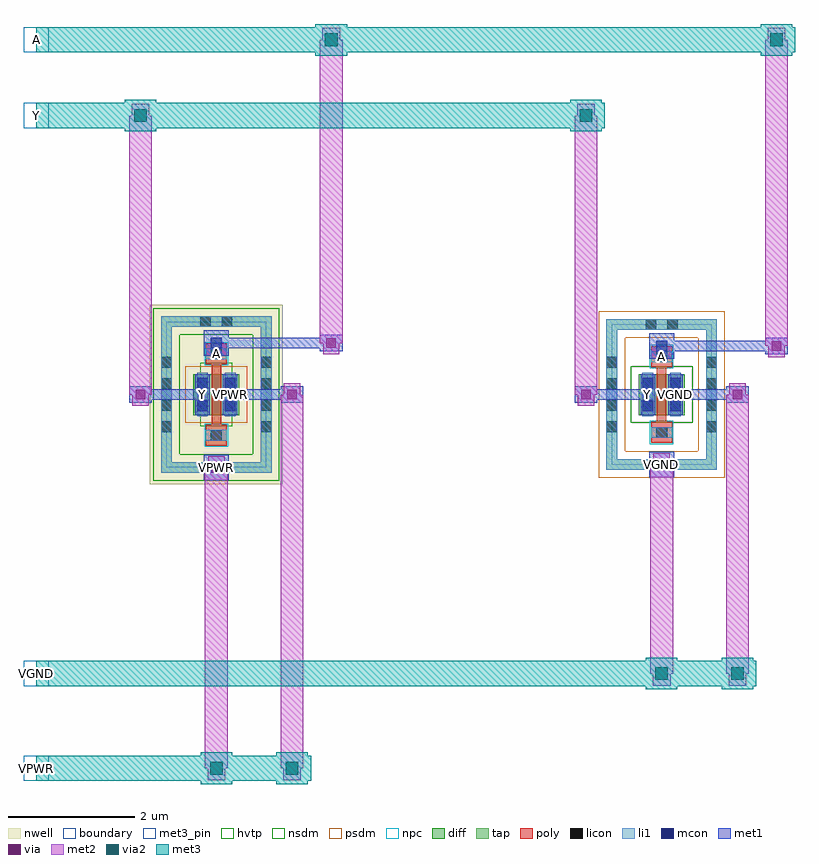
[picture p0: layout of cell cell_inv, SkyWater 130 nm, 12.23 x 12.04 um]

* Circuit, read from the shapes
.subckt cell_inv A VGND VPWR Y
XM1 VGND A Y VGND sky130_fd_pr__nfet_01v8 w=0.65 l=0.15
XM2 VPWR A Y VPWR sky130_fd_pr__pfet_01v8_hvt w=0.65 l=0.15
.ends

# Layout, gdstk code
import gdstk
lib = gdstk.Library(unit=1e-6, precision=1e-09)
def R(c, l, rs):  # rectangles x0, y0, x1, y1
    for r in rs: c.add(gdstk.rectangle(r[:2], r[2:], *l))
def A(c, l, x, y, w, h, nx, ny, dx, dy):  # array of equal rectangles
    R(c, l, [(x+i*dx, y+j*dy, x+i*dx+w, y+j*dy+h) for i in range(nx) for j in range(ny)])
nwell = (64, 20)
diff = (65, 20)
tap = (65, 44)
poly = (66, 20)
licon = (66, 44)
li1 = (67, 20)
mcon = (67, 44)
met1 = (68, 20)
via = (68, 44)
met2 = (69, 20)
via2 = (69, 44)
met3_pin = (70, 16)
met3 = (70, 20)
hvtp = (78, 44)
nsdm = (93, 44)
psdm = (94, 20)
npc = (95, 20)
boundary = (235, 4)

cell_inv = lib.new_cell('cell_inv')
R(cell_inv, nwell, [(0,-1.42,2.11,1.42)])
R(cell_inv, diff, [(0.69,-0.325,1.42,0.325), (7.745,-0.325,8.475,0.325)])
R(cell_inv, tap, [(0.18,-1.24,1.93,-1.07), (7.235,-1.195,8.985,-1.025), (0.18,-1.07,0.35,1.07), (1.76,-1.07,1.93,1.07), (7.235,-1.025,7.405,1.025), (8.815,-1.025,8.985,1.025), (7.235,1.025,8.985,1.195), (0.18,1.07,1.93,1.24)])
R(cell_inv, poly, [(0.89,-0.81,1.22,-0.48), (7.945,-0.765,8.275,-0.435), (0.98,-0.48,1.13,0.48), (8.035,-0.435,8.185,0.435), (7.945,0.435,8.275,0.765), (0.89,0.48,1.22,0.81)])
A(cell_inv, licon, 0.18, -0.595, 0.17, 0.17, 1, 4, 0, 0.34)
A(cell_inv, licon, 1.76, -0.595, 0.17, 0.17, 1, 4, 0, 0.34)
A(cell_inv, licon, 7.235, -0.595, 0.17, 0.17, 1, 4, 0, 0.34)
A(cell_inv, licon, 8.815, -0.595, 0.17, 0.17, 1, 4, 0, 0.34)
R(cell_inv, licon, [(0.8,-1.24,0.97,-1.07), (1.14,-1.24,1.31,-1.07), (7.855,-1.195,8.025,-1.025), (8.195,-1.195,8.365,-1.025), (0.97,-0.73,1.14,-0.56), (8.025,-0.685,8.195,-0.515), (0.75,-0.255,0.92,-0.085), (1.19,-0.255,1.36,-0.085), (7.805,-0.255,7.975,-0.085), (8.245,-0.255,8.415,-0.085), (0.75,0.085,0.92,0.255), (1.19,0.085,1.36,0.255), (7.805,0.085,7.975,0.255), (8.245,0.085,8.415,0.255), (8.025,0.515,8.195,0.685), (0.97,0.56,1.14,0.73), (7.855,1.025,8.025,1.195), (8.195,1.025,8.365,1.195), (0.8,1.07,0.97,1.24), (1.14,1.07,1.31,1.24)])
R(cell_inv, li1, [(0.18,-1.24,1.93,-1.07), (7.235,-1.195,8.985,-1.025), (0.18,-1.07,0.35,1.07), (1.76,-1.07,1.93,1.07), (7.235,-1.025,7.405,1.025), (8.815,-1.025,8.985,1.025), (0.89,-0.73,1.22,-0.56), (7.945,-0.685,8.275,-0.515), (0.75,-0.345,0.92,0.345), (1.19,-0.345,1.36,0.345), (7.805,-0.345,7.975,0.345), (8.245,-0.345,8.415,0.345), (7.945,0.515,8.275,0.685), (8.025,0.515,8.195,0.855), (0.89,0.56,1.22,0.73), (0.97,0.56,1.14,0.9), (7.235,1.025,8.985,1.195), (0.18,1.07,1.93,1.24)])
R(cell_inv, mcon, [(0.97,-1.24,1.14,-1.07), (8.025,-1.195,8.195,-1.025), (0.75,-0.265,0.92,-0.095), (1.19,-0.265,1.36,-0.095), (7.805,-0.265,7.975,-0.095), (8.245,-0.265,8.415,-0.095), (0.75,0.095,0.92,0.265), (1.19,0.095,1.36,0.265), (7.805,0.095,7.975,0.265), (8.245,0.095,8.415,0.265), (8.025,0.685,8.195,0.855), (0.97,0.73,1.14,0.9)])
R(cell_inv, met1, [(0.855,-1.355,1.255,-0.955), (7.91,-1.31,8.31,-0.91), (0.875,-1.285,1.235,-1.025), (7.93,-1.24,8.29,-0.98), (0.72,-0.325,0.95,0.325), (1.16,-0.325,1.39,0.325), (7.775,-0.325,8.005,0.325), (8.215,-0.325,8.445,0.325), (-0.325,-0.13,0.035,0.13), (2.075,-0.13,2.435,0.13), (6.73,-0.13,7.09,0.13), (9.13,-0.13,9.49,0.13), (7.91,0.57,8.31,0.97), (0.855,0.615,1.255,1.015), (9.75,0.64,10.11,0.9), (2.695,0.685,3.055,0.945)])
R(cell_inv, via, [(0.98,-1.23,1.13,-1.08), (8.035,-1.185,8.185,-1.035), (-0.22,-0.075,-0.07,0.075), (2.18,-0.075,2.33,0.075), (6.835,-0.075,6.985,0.075), (9.235,-0.075,9.385,0.075), (9.855,0.695,10.005,0.845), (2.8,0.74,2.95,0.89)])
R(cell_inv, met2, [(0.915,-6.11,1.195,-5.73), (2.115,-6.11,2.395,-5.73), (7.97,-4.61,8.25,-4.23), (9.17,-4.61,9.45,-4.23), (0.925,-1.335,1.185,-0.975), (7.98,-1.29,8.24,-0.93), (-0.275,-0.18,-0.015,0.18), (2.125,-0.18,2.385,0.18), (6.78,-0.18,7.04,0.18), (9.18,-0.18,9.44,0.18), (9.8,0.59,10.06,0.95), (2.745,0.635,3.005,0.995), (-0.285,4.23,-0.005,4.61), (6.77,4.23,7.05,4.61), (2.735,5.43,3.015,5.81), (9.79,5.43,10.07,5.81)])
R(cell_inv, via2, [(0.955,-6.02,1.155,-5.82), (2.155,-6.02,2.355,-5.82), (8.01,-4.52,8.21,-4.32), (9.21,-4.52,9.41,-4.32), (-0.245,4.32,-0.045,4.52), (6.81,4.32,7.01,4.52), (2.775,5.52,2.975,5.72), (9.83,5.52,10.03,5.72)])
R(cell_inv, met3_pin, [(-2,-6.12,-1.6,-5.72), (-2,-4.62,-1.6,-4.22), (-2,4.22,-1.6,4.62), (-2,5.42,-1.6,5.82)])
R(cell_inv, met3, [(0.805,-6.17,1.305,-5.67), (2.005,-6.17,2.505,-5.67), (7.86,-4.67,8.36,-4.17), (9.06,-4.67,9.56,-4.17), (-0.395,4.17,0.105,4.67), (6.66,4.17,7.16,4.67), (2.625,5.37,3.125,5.87), (9.68,5.37,10.18,5.87)])
R(cell_inv, hvtp, [(0.8,-0.505,1.31,0.505)])
R(cell_inv, nsdm, [(0.055,-1.365,2.055,-0.945), (0.055,-0.945,0.475,0.945), (1.635,-0.945,2.055,0.945), (7.62,-0.45,8.6,0.45), (0.055,0.945,2.055,1.365)])
R(cell_inv, psdm, [(7.11,-1.32,9.11,-0.9), (7.11,-0.9,7.53,0.9), (8.69,-0.9,9.11,0.9), (0.565,-0.45,1.545,0.45), (7.11,0.9,9.11,1.32)])
R(cell_inv, npc, [(0.87,-0.83,1.24,-0.46), (7.925,-0.785,8.295,-0.415), (7.925,0.415,8.295,0.785), (0.87,0.46,1.24,0.83)])
R(cell_inv, boundary, [(0.265,-1.155,1.845,1.155), (7.32,-1.11,8.9,1.11)])
cell_inv.add(gdstk.FlexPath([(0.835,0),(-0.145,0)], 0.17, ends="flush", simple_path=True, layer=68, datatype=20))  # met1
cell_inv.add(gdstk.FlexPath([(7.89,0),(6.91,0)], 0.17, ends="flush", simple_path=True, layer=68, datatype=20))  # met1
cell_inv.add(gdstk.FlexPath([(1.055,0.815),(2.875,0.815)], 0.17, ends="flush", simple_path=True, layer=68, datatype=20))  # met1
cell_inv.add(gdstk.FlexPath([(1.275,0),(2.255,0)], 0.17, ends="flush", simple_path=True, layer=68, datatype=20))  # met1
cell_inv.add(gdstk.FlexPath([(8.33,0),(9.31,0)], 0.17, ends="flush", simple_path=True, layer=68, datatype=20))  # met1
cell_inv.add(gdstk.FlexPath([(1.055,-1.155),(1.055,-1.155)], 0.17, ends="flush", simple_path=True, layer=68, datatype=20))  # met1
cell_inv.add(gdstk.FlexPath([(8.11,0.77),(9.93,0.77)], 0.17, ends="flush", simple_path=True, layer=68, datatype=20))  # met1
cell_inv.add(gdstk.FlexPath([(8.11,-1.11),(8.11,-1.11)], 0.17, ends="flush", simple_path=True, layer=68, datatype=20))  # met1
cell_inv.add(gdstk.FlexPath([(-0.145,0),(-0.145,4.42)], 0.36, ends="flush", simple_path=True, layer=69, datatype=20))  # met2
cell_inv.add(gdstk.FlexPath([(2.875,0.815),(2.875,5.62)], 0.36, ends="flush", simple_path=True, layer=69, datatype=20))  # met2
cell_inv.add(gdstk.FlexPath([(2.255,0),(2.255,-5.92)], 0.36, ends="flush", simple_path=True, layer=69, datatype=20))  # met2
cell_inv.add(gdstk.FlexPath([(1.055,-1.155),(1.055,-5.92)], 0.36, ends="flush", simple_path=True, layer=69, datatype=20))  # met2
cell_inv.add(gdstk.FlexPath([(9.93,0.77),(9.93,5.62)], 0.36, ends="flush", simple_path=True, layer=69, datatype=20))  # met2
cell_inv.add(gdstk.FlexPath([(8.11,-1.11),(8.11,-4.42)], 0.36, ends="flush", simple_path=True, layer=69, datatype=20))  # met2
cell_inv.add(gdstk.FlexPath([(6.91,0),(6.91,4.42)], 0.36, ends="flush", simple_path=True, layer=69, datatype=20))  # met2
cell_inv.add(gdstk.FlexPath([(9.31,0),(9.31,-4.42)], 0.36, ends="flush", simple_path=True, layer=69, datatype=20))  # met2
cell_inv.add(gdstk.FlexPath([(-1.8,4.42),(7.21,4.42)], 0.4, ends="flush", simple_path=True, layer=70, datatype=20))  # met3
cell_inv.add(gdstk.FlexPath([(-1.8,5.62),(10.23,5.62)], 0.4, ends="flush", simple_path=True, layer=70, datatype=20))  # met3
cell_inv.add(gdstk.FlexPath([(-1.8,-4.42),(9.61,-4.42)], 0.4, ends="flush", simple_path=True, layer=70, datatype=20))  # met3
cell_inv.add(gdstk.FlexPath([(-1.8,-5.92),(2.555,-5.92)], 0.4, ends="flush", simple_path=True, layer=70, datatype=20))  # met3
cell_inv.add(gdstk.Label('VPWR', (1.055,-1.155), layer=67, texttype=5))
cell_inv.add(gdstk.Label('Y', (0.835,0), layer=67, texttype=5))
cell_inv.add(gdstk.Label('VPWR', (1.275,0), layer=67, texttype=5))
cell_inv.add(gdstk.Label('A', (1.055,0.645), layer=67, texttype=5))
cell_inv.add(gdstk.Label('VGND', (8.11,-1.11), layer=67, texttype=5))
cell_inv.add(gdstk.Label('Y', (7.89,0), layer=67, texttype=5))
cell_inv.add(gdstk.Label('VGND', (8.33,0), layer=67, texttype=5))
cell_inv.add(gdstk.Label('A', (8.11,0.6), layer=67, texttype=5))
cell_inv.add(gdstk.Label('Y', (-1.8,4.42), layer=70, texttype=5))
cell_inv.add(gdstk.Label('A', (-1.8,5.62), layer=70, texttype=5))
cell_inv.add(gdstk.Label('VGND', (-1.8,-4.42), layer=70, texttype=5))
cell_inv.add(gdstk.Label('VPWR', (-1.8,-5.92), layer=70, texttype=5))

lib.write_gds('cell_inv.gds')
